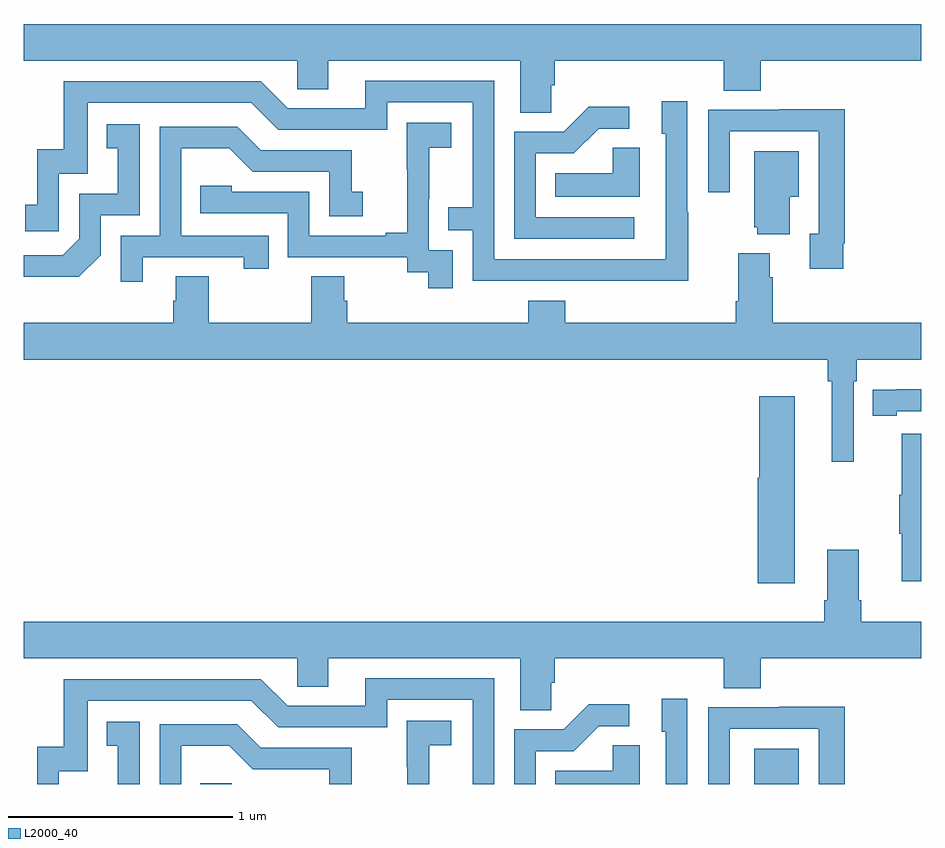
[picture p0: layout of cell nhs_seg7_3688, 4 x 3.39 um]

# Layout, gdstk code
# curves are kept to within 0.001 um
import gdstk
lib = gdstk.Library(unit=1e-6, precision=1e-09)
def R(c, l, rs):  # rectangles x0, y0, x1, y1
    for r in rs: c.add(gdstk.rectangle(r[:2], r[2:], *l))
def P(c, l, *ps):  # polygons
    for p in ps: c.add(gdstk.Polygon(p, *l))
L2000_40 = (2000, 40)

nhs_seg7_3688 = lib.new_cell('nhs_seg7_3688')
R(nhs_seg7_3688, L2000_40, [(345.787,1056,345.927,1056.003), (348.257,1056,348.454,1056.157)])
P(nhs_seg7_3688, L2000_40, [(347.352,1059.115),(347.366,1059.115),(347.366,1059.224),(348.119,1059.224),(348.119,1059.091),(348.284,1059.091),(348.284,1059.224),(349,1059.224),(349,1059.388),(345,1059.388),(345,1059.224),(346.218,1059.224),(346.218,1059.097),(346.357,1059.097),(346.357,1059.224),(347.213,1059.224),(347.213,1058.992),(347.352,1058.992)],
  [(347.961,1058.549),(347.958,1058.549),(347.958,1059.043),(347.843,1059.043),(347.843,1058.898),(347.862,1058.898),(347.862,1058.34),(347.097,1058.34),(347.097,1059.135),(346.523,1059.135),(346.523,1059.012),(346.176,1059.012),(346.056,1059.132),(345.177,1059.132),(345.177,1058.83),(345.059,1058.83),(345.059,1058.583),(345.006,1058.583),(345.006,1058.463),(345.156,1058.463),(345.156,1058.721),(345.285,1058.721),(345.285,1059.036),(346.014,1059.036),(346.134,1058.916),(346.62,1058.916),(346.62,1059.039),(347.001,1059.039),(347.001,1058.57),(346.891,1058.57),(346.891,1058.469),(347.001,1058.469),(347.001,1058.244),(347.961,1058.243)],
  [(347.722,1058.526),(347.283,1058.526),(347.283,1058.811),(347.452,1058.811),(347.563,1058.922),(347.698,1058.922),(347.698,1059.02),(347.519,1059.02),(347.406,1058.907),(347.187,1058.907),(347.187,1058.43),(347.722,1058.43)],
  [(348.652,1058.41),(348.659,1058.41),(348.659,1059.008),(348.367,1059.008),(348.367,1059.006),(348.051,1059.006),(348.051,1058.637),(348.147,1058.637),(348.147,1058.91),(348.543,1058.91),(348.543,1058.454),(348.503,1058.454),(348.503,1058.298),(348.652,1058.298)],
  [(346.911,1058.379),(346.806,1058.379),(346.806,1058.609),(346.808,1058.609),(346.808,1058.837),(346.906,1058.837),(346.906,1058.947),(346.708,1058.947),(346.708,1058.741),(346.709,1058.741),(346.709,1058.458),(346.613,1058.458),(346.613,1058.445),(346.272,1058.445),(346.272,1058.64),(345.927,1058.64),(345.927,1058.667),(345.787,1058.667),(345.787,1058.544),(346.176,1058.544),(346.176,1058.349),(346.71,1058.349),(346.71,1058.281),(346.803,1058.281),(346.803,1058.211),(346.911,1058.211)],
  [(345.342,1058.358),(345.342,1058.535),(345.516,1058.535),(345.516,1058.941),(345.37,1058.941),(345.37,1058.835),(345.419,1058.835),(345.419,1058.631),(345.246,1058.631),(345.246,1058.43),(345.174,1058.358),(345,1058.358),(345,1058.261),(345.244,1058.261)],
  [(345.529,1058.349),(345.98,1058.349),(345.98,1058.298),(346.091,1058.298),(346.091,1058.445),(345.702,1058.445),(345.702,1058.834),(345.916,1058.834),(346.02,1058.73),(346.362,1058.73),(346.362,1058.532),(346.51,1058.532),(346.51,1058.641),(346.461,1058.641),(346.461,1058.826),(346.057,1058.826),(345.952,1058.931),(345.606,1058.931),(345.606,1058.445),(345.432,1058.445),(345.432,1058.238),(345.529,1058.238)],
  [(347.746,1058.837),(347.625,1058.837),(347.625,1058.722),(347.368,1058.722),(347.368,1058.618),(347.746,1058.618)],
  [(348.415,1058.618),(348.454,1058.618),(348.454,1058.821),(348.257,1058.821),(348.257,1058.481),(348.269,1058.481),(348.269,1058.45),(348.415,1058.45)],
  [(348.699,1057.796),(348.713,1057.796),(348.713,1057.892),(349,1057.892),(349,1058.056),(348.338,1058.056),(348.338,1058.258),(348.325,1058.258),(348.325,1058.365),(348.185,1058.365),(348.185,1058.152),(348.173,1058.152),(348.173,1058.056),(347.414,1058.056),(347.414,1058.155),(347.249,1058.155),(347.249,1058.056),(346.442,1058.056),(346.442,1058.154),(346.429,1058.154),(346.429,1058.264),(346.282,1058.264),(346.282,1058.056),(345.825,1058.056),(345.825,1058.264),(345.677,1058.264),(345.677,1058.154),(345.665,1058.154),(345.665,1058.056),(345,1058.056),(345,1057.892),(348.583,1057.892),(348.583,1057.796),(348.602,1057.796),(348.602,1057.437),(348.699,1057.437)],
  [(348.892,1057.662),(349,1057.662),(349,1057.759),(348.892,1057.759),(348.892,1057.758),(348.784,1057.758),(348.784,1057.642),(348.892,1057.642)],
  [(348.436,1057.729),(348.278,1057.729),(348.278,1057.365),(348.272,1057.365),(348.272,1056.894),(348.436,1056.894)],
  [(349,1057.561),(348.914,1057.561),(348.914,1057.289),(348.903,1057.289),(348.903,1057.115),(348.914,1057.115),(348.914,1056.903),(349,1056.903)],
  [(345,1056.56),(346.218,1056.56),(346.218,1056.433),(346.357,1056.433),(346.357,1056.56),(347.213,1056.56),(347.213,1056.328),(347.352,1056.328),(347.352,1056.451),(347.366,1056.451),(347.366,1056.56),(348.119,1056.56),(348.119,1056.427),(348.284,1056.427),(348.284,1056.56),(349,1056.56),(349,1056.724),(348.734,1056.724),(348.734,1056.82),(348.721,1056.82),(348.721,1057.045),(348.581,1057.045),(348.581,1056.82),(348.569,1056.82),(348.569,1056.724),(345,1056.724)],
  [(345.156,1056.057),(345.285,1056.057),(345.285,1056.372),(346.014,1056.372),(346.134,1056.252),(346.62,1056.252),(346.62,1056.375),(347.001,1056.375),(347.001,1056),(347.097,1056),(347.097,1056.471),(346.523,1056.471),(346.523,1056.348),(346.176,1056.348),(346.056,1056.468),(345.177,1056.468),(345.177,1056.166),(345.059,1056.166),(345.059,1056),(345.156,1056)],
  [(347.958,1056.379),(347.843,1056.379),(347.843,1056.234),(347.862,1056.234),(347.862,1056),(347.958,1056)],
  [(347.283,1056.147),(347.452,1056.147),(347.563,1056.258),(347.698,1056.258),(347.698,1056.356),(347.519,1056.356),(347.406,1056.243),(347.187,1056.243),(347.187,1056),(347.283,1056)],
  [(348.147,1056.246),(348.543,1056.246),(348.543,1056),(348.659,1056),(348.659,1056.344),(348.367,1056.344),(348.367,1056.342),(348.051,1056.342),(348.051,1056),(348.147,1056)],
  [(346.808,1056.173),(346.906,1056.173),(346.906,1056.283),(346.708,1056.283),(346.708,1056.077),(346.709,1056.077),(346.709,1056),(346.808,1056)],
  [(345.516,1056.277),(345.37,1056.277),(345.37,1056.171),(345.419,1056.171),(345.419,1056),(345.516,1056)],
  [(345.702,1056.17),(345.916,1056.17),(346.02,1056.066),(346.362,1056.066),(346.362,1056),(346.461,1056),(346.461,1056.162),(346.057,1056.162),(345.952,1056.267),(345.606,1056.267),(345.606,1056),(345.702,1056)],
  [(347.746,1056.173),(347.625,1056.173),(347.625,1056.058),(347.368,1056.058),(347.368,1056),(347.746,1056)])

lib.write_gds('nhs_seg7_3688.gds')
